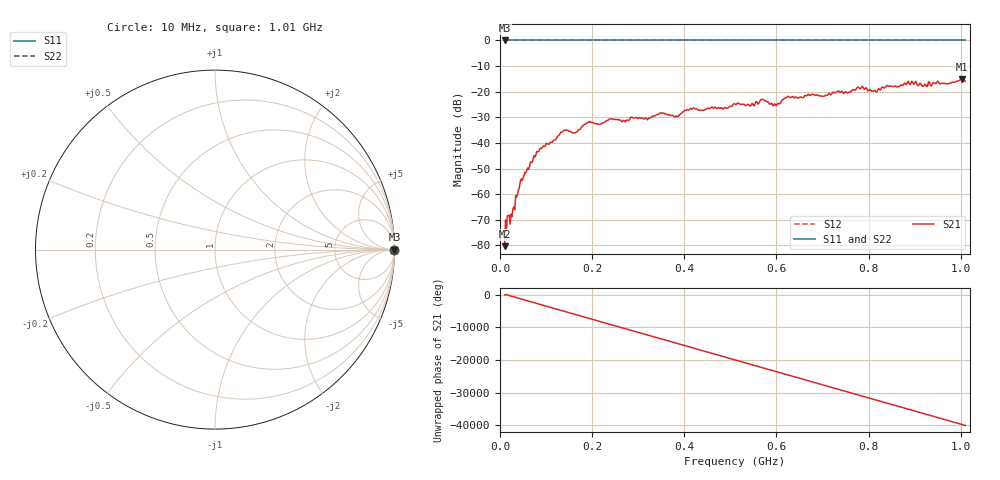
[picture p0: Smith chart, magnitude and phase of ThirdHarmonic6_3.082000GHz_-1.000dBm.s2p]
! 8/17/2025 9:02:29 AM
! C:\ANRITSUVNA\TEMP\TEMP.S2P
! CHANNEL.1
! TR.MEASUREMENT
! RAW.DATA
! RF.CORRECTION.OFF
! AVERAGING.OFF
! IF.BANDWIDTH: 5KHZ
! SWEEPTYPE:  FREQ.SWEEP(Linear)
! Reference Plane Port Info
! PORT:  PORT1  PORT2
! DISTANCE:  0  m  0  m
! TIME:  0  s  0  s
! PHASE.OFFSET:  0  deg.  0  deg.
! LOSS:  0  dB  0  dB
! REF.LOSS:  0  dB  0  dB
! REF.FREQ:  0  Hz  0  Hz
! Power Info
! POWER:  -20  dBm  -20  dBm
! EFF.POWER:  -20  dBm  -20  dBm
! SOURCE.ATTEN:  0  dB  0  dB
! TEST.ATTEN:  0  dB  0  dB
# GHZ S RI R 50.0
! FREQ.GHZ  S11RE  S11IM  S21RE  S21IM  S12RE  S12IM  S22RE  S22IM
!; PortSelection: Port_12
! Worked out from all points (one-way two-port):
!   501 points, 10 MHz to 1.01 GHz, reference 50 ohm
!   highest |S21| = -15.06 dB at 1.002 GHz (marker M1); lowest = -80.3 dB at 10 MHz (marker M2)
!   lowest |S11| = 0.0 dB at 10 MHz (marker M3)
!   |S11| at or under -10 dB: nowhere
!   |S22| runs from 0.0 to 0.0 dB; largest |S21 - S12| = 1.2
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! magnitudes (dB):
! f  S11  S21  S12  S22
! 10 MHz  0.0  -80.3  0.0  0.0
! 16 MHz  0.0  -68.4  0.0  0.0
! 26 MHz  0.0  -68.8  0.0  0.0
! 44 MHz  0.0  -55.1  0.0  0.0
! 78 MHz  0.0  -44.6  0.0  0.0
! 136 MHz  0.0  -35.5  0.0  0.0
! 162 MHz  0.0  -36.1  0.0  0.0
! 178 MHz  0.0  -33.7  0.0  0.0
! 344 MHz  0.0  -28.8  0.0  0.0
! 382 MHz  0.0  -29.5  0.0  0.0
! 416 MHz  0.0  -26.8  0.0  0.0
! 510 MHz  0.0  -24.9  0.0  0.0
! 548 MHz  0.0  -24.6  0.0  0.0
! 570 MHz  0.0  -23.0  0.0  0.0
! 596 MHz  0.0  -24.7  0.0  0.0
! 622 MHz  0.0  -22.2  0.0  0.0
! 678 MHz  0.0  -21.0  0.0  0.0
! 782 MHz  0.0  -18.9  0.0  0.0
! 814 MHz  0.0  -19.5  0.0  0.0
! 844 MHz  0.0  -17.9  0.0  0.0
! 1.002 GHz  0.0  -15.1  0.0  0.0
! 1.01 GHz  0.0  -15.9  0.0  0.0
